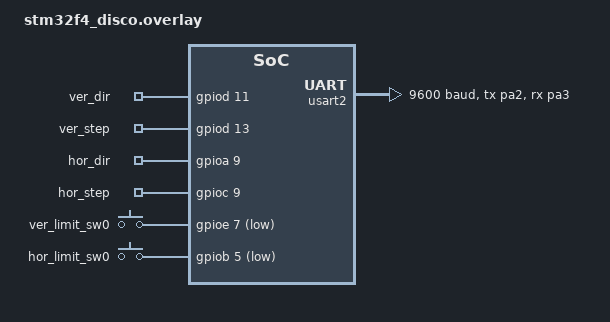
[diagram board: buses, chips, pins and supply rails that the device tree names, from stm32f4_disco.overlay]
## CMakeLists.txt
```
# SPDX-License-Identifier: Apache-2.0

cmake_minimum_required(VERSION 3.20.0)
find_package(Zephyr REQUIRED HINTS $ENV{ZEPHYR_BASE})
project(Cocktailmaschine)

target_sources(app PRIVATE src/main.c src/setup.c src/uart.c src/cocktails.c src/isr.c src/motor.c src/realtimeproblems.c)
```

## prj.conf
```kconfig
# Peripherals
CONFIG_GPIO=y
CONFIG_SERIAL=y
CONFIG_UART_INTERRUPT_DRIVEN=y
CONFIG_PWM=y
CONFIG_REBOOT=y

CONFIG_FPU=y

# Libaries
CONFIG_JSON_LIBRARY=y

# Memory
CONFIG_MAIN_STACK_SIZE=2000
CONFIG_HEAP_MEM_POOL_SIZE=2000


# SystemView
CONFIG_TRACING=y
CONFIG_SEGGER_SYSTEMVIEW=y
```

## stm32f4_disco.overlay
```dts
/ {
    gpio-pins {
        compatible = "gpio-keys";
        ver_dir: pd11 {
            gpios = <&gpiod 11 (GPIO_ACTIVE_HIGH )>;
        };
        ver_step: pd13 {
            gpios = <&gpiod 13 (GPIO_ACTIVE_HIGH )>;
        };
        /*ver_enable: pd15 {
            gpios = <&gpiod 15 (GPIO_ACTIVE_LOW )>;
        };*/
        hor_dir: pa9 {
            gpios = <&gpioa 9 (GPIO_ACTIVE_HIGH )>;
        };
        hor_step: pc9 {
            gpios = <&gpioc 9 (GPIO_ACTIVE_HIGH )>;
        };
        /*hor_enable: pc7 {
            gpios = <&gpioc 7 (GPIO_ACTIVE_LOW )>;
        };*/
    };

    
    limit-switches {
        compatible = "gpio-keys";
        ver_limit_sw0: pe7 {
            gpios = <&gpioe 7 (GPIO_ACTIVE_LOW | GPIO_PULL_DOWN)>;
        };
        /*ver_limit_sw1: pe11 {
            gpios = <&gpioe 11 (GPIO_ACTIVE_LOW | GPIO_PULL_DOWN)>;
        };*/
        hor_limit_sw0: pb5 {
            gpios = <&gpiob 5 (GPIO_ACTIVE_LOW | GPIO_PULL_DOWN)>;
        };
        /*hor_limit_sw1: pd6 {
            gpios = <&gpiod 6 (GPIO_ACTIVE_LOW | GPIO_PULL_DOWN)>;
        };*/
    };
};

usart: &usart2 {
	status = "okay";
	pinctrl-0 = <&usart2_tx_pa2 &usart2_rx_pa3 >;
	pinctrl-names = "default";
	current-speed = <9600>;
};
```

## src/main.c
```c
/*
 * Copyright (c) 2017 Linaro Limited
 *
 * SPDX-License-Identifier: Apache-2.0
 */

#include "../include/setup.h"

int ver_ready = 0;
int hor_ready = 0;

void t_horizontal_motor(void){
	int pos;
	struct q_item *item;
	uint32_t target_step_count = 0;
	while (1) {
		if (k_sem_take(&move_to_pos_sem, K_MSEC(500)) == 0) {

			ver_ready = 0;
			hor_ready = 0;

			while (k_queue_is_empty(&position_q) == 0) {
				item = k_queue_get(&position_q, K_NO_WAIT);
				pos = item->data.pos;

				switch (pos) {
				case 0:
					target_step_count = POS0;
					break;
				case 1:
					target_step_count = POS1;
					break;
				case 2:
					target_step_count = POS2;
					break;
				case 3:
					target_step_count = POS3;
					break;
				default:
					halt("invalid position");
					return;
				}

				move_to_pos(target_step_count);
				k_free(item);

				k_sem_give(&fill_glass_sem);
				k_sem_take(&move_to_pos_sem, K_FOREVER);
			}
			
			hor_set_dir(LEFT);
			while(hor_current_pos > 500){
				hor_move_step();
				hor_current_pos--;
			}
			
			unblock_server();
			set_status_led(STATUS_OK);
		}
		k_msleep(100);
	}
}

void t_vertical_motor(void){
	uint16_t amount;
	struct q_item *item;
	while (1) {
		if (k_sem_take(&fill_glass_sem, K_MSEC(500)) == 0) {
			while (k_queue_is_empty(&amount_q) == 0) {
				item = k_queue_get(&amount_q, K_NO_WAIT);
				amount = cocktail_size * item->data.amount * 0.01;

				fill_glass(amount);

				k_free(item);
				k_sem_give(&move_to_pos_sem);
				k_sem_take(&fill_glass_sem, K_FOREVER);
			}
		}
		k_msleep(100);
	}
}

void t_deadlock(void){
	while (1) {
		k_sem_take(&deadlock_sem, K_FOREVER);
		while(1){
			if(access_virtual_resource_2() == -1){
				k_mutex_unlock(&resource_mutex1);
				k_mutex_unlock(&resource_mutex2);
				release_deadlock = 0;
				break;
			}
			k_msleep(100);
		}
	}
}

void t_inversion(void){
	while (1) {
		k_sem_take(&inversion_sem, K_FOREVER);
		block_mutex_inversion();
		k_msleep(100);
	}
}

void t_init_ver_motor(void){
	while(1){
		if(k_sem_take(&init_ver, K_FOREVER) == 0) {
			ver_set_starting_position();
			while(!ver_is_starting_pos() || !hor_is_starting_pos()) {
				k_msleep(10);
			}
			ver_set_dir(DOWN);
			for (int i = 0; i < 3000; i++) {
				ver_move_step();
			}
			if (!ver_is_starting_pos()) {
				k_msleep(200);
				ver_set_starting_position();
				ver_ready = 1;
			} else {
				halt("ver limit switch not working properly");
			}
		}
		k_msleep(1000);
	}
}

void t_init_hor_motor(void){
	while(1){
		if(k_sem_take(&init_hor, K_FOREVER) == 0) {
			hor_set_starting_position();
			while(!ver_is_starting_pos() || !hor_is_starting_pos()) {
				k_msleep(10);
			}
			k_msleep(100);
			hor_set_dir(RIGHT);
			for (int i = 0; i < 500; i++) {
				hor_move_step();
			}
			if (!hor_is_starting_pos()) {
				hor_ready = 1;
			} else {
				halt("hor limit switch not working properly");
			}
		}
		
		k_msleep(1000);
	}
}

K_THREAD_DEFINE(init_ver_motor, 2048, t_init_ver_motor, NULL, NULL, NULL, 1, 0, 0);
K_THREAD_DEFINE(init_hor_motor, 2048, t_init_hor_motor, NULL, NULL, NULL, 1, 0, 0);

K_THREAD_DEFINE(hor_motor, 2048, t_horizontal_motor, NULL, NULL, NULL, 2, 0, -1);
K_THREAD_DEFINE(ver_motor, 2048, t_vertical_motor, NULL, NULL, NULL, 2, 0, -1);

K_THREAD_DEFINE(deadlock, 2048, t_deadlock, NULL, NULL, NULL, 3, 0, 0);
K_THREAD_DEFINE(priority_inversion, 2048, t_inversion, NULL, NULL, NULL, 3, 0, 0);


void main(void){
	setup();
	uart_setup();
	isr_setup();

	set_status_led(STATUS_BLOCKED);

	while (!initialized) {
		SEGGER_RTT_printf(0, "Waiting for server...\n");
		uart_write("init\n", sizeof("init\n"));
		k_msleep(2000);
	}

	reset_and_check();

	while(!ver_ready || !hor_ready){
		k_msleep(10);
	}
	
	k_thread_start(hor_motor);
	k_thread_start(ver_motor);
	unblock_server();
	set_status_led(STATUS_OK);

	while (1) {
		k_msleep(1000);
	}
}
```

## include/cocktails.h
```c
#ifndef COCKTAILS
#define COCKTAILS

#include "setup.h"

// Struct to describe an available drink on the machine
// i.e. Vodka, 1
struct drink {
    char* name;     // Name of the drink
    uint16_t position;   // Position of the bottle
};

//  Struct to describe an ingredient for a specific cocktail
//  i.e. Vodka, 20%
struct ingredient {
    struct drink drink; // Drink 
    uint16_t amount;    // Amount of drink in % to have variable drink sizes
};

// Struct to describe a cocktail 
struct cocktail {
    char* name;      // Name of the cocktail
    struct ingredient ingredients[4]; // Array of the ingredients
    uint16_t ingredient_count;  // Number of fields in the ingredient array that are not null
};

// Structs to hold arrays of drinks and cocktails
// Seems redundant but, because you could simply save the drinks and cocktails directly to an array but is needed by the JSON-Libary
struct drink_array { 
    struct drink drinks[4]; 
    size_t count; 
};

struct cocktail_array { 
    struct cocktail cocktails[50]; 
    size_t count; 
};

/**
 * Stucts that hold the drink and cocktail
*/
extern struct drink_array drinks;
extern struct cocktail_array cocktails;

extern struct cocktail* current_cocktail;
extern int cocktail_size;

int initialize_cocktails(void);
int initialize_drinks(void);

#endif // COKTAILS
```

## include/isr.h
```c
#ifndef ISR
#define ISR

#include "setup.h"


void isr_setup(void);


#endif // ISR
```

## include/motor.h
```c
#ifndef MOTOR
#define MOTOR

#include "setup.h"

/*
 * Macros
 */
#define DOWN 1
#define UP 0
#define RIGHT 1 
#define LEFT 0

#define POS0 7300
#define POS1 12500
#define POS2 17600
#define POS3 22600

#define FILL_POS 19830
#define FILL_TIME_MS 0 

#define VER_STEP_DELAY 10
#define HOR_STEP_DELAY 400

int ver_is_starting_pos(void);

int hor_is_starting_pos(void);

void ver_set_dir(int dir);

void hor_set_dir(int dir);

void ver_move_step(void);

void hor_move_step(void);

void ver_set_starting_position(void);

void hor_set_starting_position(void);

void reset_and_check(void);

void move_to_pos(int target_pos);

void fill_glass(int ml);

#endif // MOTOR
```

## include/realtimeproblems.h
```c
#ifndef RTPROBLEMS
#define RTPROBLEMS

#include "setup.h"

void access_virtual_resource_1(void);
int access_virtual_resource_2(void);

void block_mutex_inversion(void);


extern struct k_mutex resource_mutex1;
extern struct k_mutex resource_mutex2;

extern struct k_sem inversion_sem;
extern struct k_sem deadlock_sem;

extern int release_deadlock;

#endif //RTPROBLEMS
```

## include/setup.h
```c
#include <zephyr/kernel.h>
#include <zephyr/device.h>
#include <zephyr/irq.h>
#include <zephyr/drivers/gpio.h>
#include <zephyr/drivers/pwm.h>
#include <zephyr/drivers/uart.h>
#include <zephyr/devicetree.h>
#include <string.h>
#include <stdio.h>
#include <zephyr/data/json.h>
#include <zephyr/sys/reboot.h>

#include "SEGGER_RTT.h"

#include "cocktails.h"
#include "uart.h"
#include "isr.h"
#include "motor.h"
#include "realtimeproblems.h"

/*
 * Macros
 */
#define STATUS_OK 0
#define STATUS_ERROR -1
#define STATUS_BLOCKED 1

/**
 * GPIOs
 */ 
extern const struct gpio_dt_spec hor_dir_spec;
extern const struct gpio_dt_spec hor_step_spec;
extern const struct gpio_dt_spec ver_dir_spec;
extern const struct gpio_dt_spec ver_step_spec;

extern const struct gpio_dt_spec hor_limit_sw0_spec;
extern const struct gpio_dt_spec limit_sw_hor1_spec;
extern const struct gpio_dt_spec ver_limit_sw0_spec;
extern const struct gpio_dt_spec limit_sw_ver1_spec;

extern const struct gpio_dt_spec ver_enable_spec;
extern const struct gpio_dt_spec hor_enable_spec;
extern const struct gpio_dt_spec user_button_spec;
 
// LEDs
extern const struct gpio_dt_spec green;
extern const struct gpio_dt_spec red ;
extern const struct gpio_dt_spec blue;
extern const struct gpio_dt_spec orange;

/**
 * Semaphores
 */
// Coktail filling semeaphores
extern struct k_sem move_to_pos_sem;
extern struct k_sem fill_glass_sem;

// Settings semaphores
extern struct k_sem drink_sem;
extern struct k_sem cocktail_sem;
extern struct k_sem cmd_sem;

// Initialization semaphores
extern struct k_sem init_ver;
extern struct k_sem init_hor;


/**
 * Queues
 */
extern struct k_queue position_q;
extern struct k_queue amount_q;

/**
 * TIDs
*/
extern const k_tid_t hor_motor;
extern const k_tid_t ver_motor;
extern const k_tid_t led_thread;


/**
 * Global variables
 */
extern char drinks_JSON[512];
extern char cocktails_JSON[2048];

extern int ready;

extern int hor_current_pos;
extern int ver_current_pos;


/*
 * Functions
 */ 
void setup(void);
void set_status_led(int status);
void halt(char* msg);
```

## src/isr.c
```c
#include "../include/isr.h"

struct gpio_callback cb_data2;

// User-Button ISR that aborts the system
void isr_user_button(){
    halt("user aborted");
}

// ISR setup
void isr_setup(void){
    gpio_pin_interrupt_configure_dt(&user_button_spec, GPIO_INT_EDGE_TO_ACTIVE);
    gpio_init_callback(&cb_data2, (gpio_callback_handler_t)isr_user_button, BIT(user_button_spec.pin));
	gpio_add_callback(user_button_spec.port, &cb_data2);

}
```

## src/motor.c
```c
#include "../include/motor.h"

// Variables that hold the position of the motors
// Position is a counter of the steps
int hor_current_pos;
int ver_current_pos;

// Checks if vertical motor is at starting position
int ver_is_starting_pos(void){
	return gpio_pin_get_dt(&ver_limit_sw0_spec);
}

// Checks if horizontal motor is at starting position
int hor_is_starting_pos(void){
	return gpio_pin_get_dt(&hor_limit_sw0_spec);
}

// Set direction of vertical motor
void ver_set_dir(int dir){
    gpio_pin_set_dt(&ver_dir_spec, dir);
}

// Set direction of horizontal motor
void hor_set_dir(int dir){
    gpio_pin_set_dt(&hor_dir_spec, dir);
}

// Take one step with vertical motor
void ver_move_step(void){
	
	access_virtual_resource_1();

	gpio_pin_toggle_dt(&ver_step_spec);
	k_usleep(VER_STEP_DELAY);
	gpio_pin_toggle_dt(&ver_step_spec);
	k_usleep(VER_STEP_DELAY);
}

// Take one step with horizontal motor
void hor_move_step(void){
	
	access_virtual_resource_1();

	gpio_pin_toggle_dt(&hor_step_spec);
	k_usleep(HOR_STEP_DELAY);
	gpio_pin_toggle_dt(&hor_step_spec);
	k_usleep(HOR_STEP_DELAY);
}

// Moves ver motor to starting position and sets step count to 0 
void ver_set_starting_position(void){
	ver_set_dir(UP);
	while(!ver_is_starting_pos()){
		ver_move_step();
	}
	ver_current_pos = 0;
}

// Moves hor motor to starting position and sets step count to 0 
void hor_set_starting_position(void){
    hor_set_dir(LEFT);
	while(!hor_is_starting_pos()){
		hor_move_step();
	}
	hor_current_pos = 0;
}


// Moves both motors to starting positions and checks if limit switches work correctly
void reset_and_check(void){
	k_sem_give(&init_ver);
	k_sem_give(&init_hor);
}

// Moves horizontal motor to a specific position
void move_to_pos(int target_pos){
	if(hor_current_pos < target_pos){
        hor_set_dir(RIGHT);
		while(hor_current_pos < target_pos){
			hor_move_step();
			hor_current_pos++;
		}
	}
	else{
        hor_set_dir(LEFT);
		while(hor_current_pos > target_pos){
			hor_move_step();
			hor_current_pos--;
		}
	}
}

// Fills glass with the desired amount in ml by 
// repeatedly moving the vertical motor up and down 
void fill_glass(int ml){

	int remaining_ml = ml;
	int next_fill_pos;
	int next_fill_time;


	while(1){
		if(remaining_ml == 0){
			return;
		}

		ver_set_dir(DOWN);
		next_fill_pos = FILL_POS;
		next_fill_time = FILL_TIME_MS;

		// Change vertical motor position and fill time depending on remaining ml
		// Inaccurate ways to fill glass with less than 40ml 
		if(remaining_ml <= 10){
			next_fill_pos -= 1200;
			next_fill_time = 0;
		}
		else if(remaining_ml <= 20){
			next_fill_pos -= 800;
			next_fill_time = 0;
		}
		else if (remaining_ml <= 30){
			next_fill_pos -= 400;
			next_fill_time = 0;
		}


		for(int i = 0; i < next_fill_pos; i++){
			ver_move_step();
		}
		k_msleep(next_fill_time);

		if(remaining_ml >= 40){
			remaining_ml -= 40;
		}
		else {
			remaining_ml = 0;
		}

		ver_set_starting_position();
	}
}
```

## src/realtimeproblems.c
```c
#include "../include/realtimeproblems.h"

K_MUTEX_DEFINE(resource_mutex1);
K_MUTEX_DEFINE(resource_mutex2);

K_SEM_DEFINE(inversion_sem, 0, 1);
K_SEM_DEFINE(deadlock_sem, 0, 1);

int release_deadlock = 0;

// Locks two mutexes and unlocks them again
// This function is called every time one of the motors takes a step
// This function does esentially nothing. It is only used to provoce a deadlock and priority inversion
void access_virtual_resource_1(void){
    // Try to lock mutex1
    while(k_mutex_lock(&resource_mutex1, K_NO_WAIT) != 0) {
        k_usleep(1);        
    }

    k_usleep(1); // Put thread to sleep, in order to increase deadlock propability

    // Try to lock mutex2
    while(k_mutex_lock(&resource_mutex2, K_NO_WAIT) !=0){
        k_usleep(1);
    }
    
    // If the system had a shared resource it should be acessed here
    //
    //
    
    // Unlock mutexes
    k_mutex_unlock(&resource_mutex1);
    k_mutex_unlock(&resource_mutex2);
}

// Locks two mutexes in different order and unlocks them again
// This function is called repeatedly when a deadlock should be triggered.
// Unlocking the mutexes in different orders will trigger a deadlock
int access_virtual_resource_2(void){
    // Try to lock mutex2
    while(k_mutex_lock(&resource_mutex2, K_NO_WAIT) != 0) {
        k_usleep(1);
    } 
    
    k_usleep(1); // Put thread to sleep, in order to increase deadlock propability

    // Try to lock mutex1
    while(k_mutex_lock(&resource_mutex1, K_NO_WAIT) != 0){
        if(release_deadlock){
            return -1;
        }
        k_usleep(100);
    }
    
    // If the system had a shared resource it should be acessed here
    //
    //

    // Unlock mutexes
    k_mutex_unlock(&resource_mutex2);
    k_mutex_unlock(&resource_mutex1);
}

// Blocks one of the mutexes that the motor needs in order to take one step 
// Unblocks the mutex after 5 seconds
void block_mutex_inversion(void){
    k_mutex_lock(&resource_mutex1, K_FOREVER);
    k_msleep(5000);
    k_mutex_unlock(&resource_mutex1);
}
```

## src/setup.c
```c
#include "../include/setup.h"
#include "SEGGER_RTT_printf.c"

// Semaphores
K_SEM_DEFINE(move_to_pos_sem, 0, 1);
K_SEM_DEFINE(fill_glass_sem, 0, 1);
K_SEM_DEFINE(drink_sem, 0, 1);
K_SEM_DEFINE(cocktail_sem, 0, 1);
K_SEM_DEFINE(init_ver, 0, 1);
K_SEM_DEFINE(init_hor, 0, 1);

// Queue
K_QUEUE_DEFINE(position_q);
K_QUEUE_DEFINE(amount_q);

// GPIOS
const struct gpio_dt_spec ver_step_spec = GPIO_DT_SPEC_GET(DT_NODELABEL(ver_step), gpios);
const struct gpio_dt_spec ver_dir_spec = GPIO_DT_SPEC_GET(DT_NODELABEL(ver_dir), gpios);
//const struct gpio_dt_spec ver_enable_spec = GPIO_DT_SPEC_GET(DT_NODELABEL(ver_enable), gpios);

const struct gpio_dt_spec hor_step_spec = GPIO_DT_SPEC_GET(DT_NODELABEL(hor_step), gpios);
const struct gpio_dt_spec hor_dir_spec = GPIO_DT_SPEC_GET(DT_NODELABEL(hor_dir), gpios);
//const struct gpio_dt_spec hor_enable_spec = GPIO_DT_SPEC_GET(DT_NODELABEL(hor_enable), gpios);

const struct gpio_dt_spec ver_limit_sw0_spec = GPIO_DT_SPEC_GET(DT_NODELABEL(ver_limit_sw0), gpios);
const struct gpio_dt_spec hor_limit_sw0_spec = GPIO_DT_SPEC_GET(DT_NODELABEL(hor_limit_sw0), gpios);
const struct gpio_dt_spec user_button_spec = GPIO_DT_SPEC_GET(DT_NODELABEL(user_button), gpios);


// Status LEDs
const struct gpio_dt_spec green = GPIO_DT_SPEC_GET(DT_NODELABEL(green_led_4), gpios);
const struct gpio_dt_spec red = GPIO_DT_SPEC_GET(DT_NODELABEL(red_led_5), gpios);

const struct gpio_dt_spec blue = GPIO_DT_SPEC_GET(DT_NODELABEL(blue_led_6), gpios);
const struct gpio_dt_spec orange = GPIO_DT_SPEC_GET(DT_NODELABEL(orange_led_3), gpios);

// Pin configuration setup
void setup(void){

    gpio_pin_configure_dt(&hor_dir_spec, GPIO_OUTPUT_INACTIVE);
    gpio_pin_configure_dt(&hor_step_spec, GPIO_OUTPUT_INACTIVE);

    gpio_pin_configure_dt(&ver_dir_spec, GPIO_OUTPUT_INACTIVE);
    gpio_pin_configure_dt(&ver_step_spec, GPIO_OUTPUT_INACTIVE);

    gpio_pin_configure_dt(&hor_limit_sw0_spec, GPIO_INPUT);
    gpio_pin_configure_dt(&ver_limit_sw0_spec, GPIO_INPUT);
    gpio_pin_configure_dt(&user_button_spec, GPIO_INPUT);


    gpio_pin_configure_dt(&green, GPIO_OUTPUT_INACTIVE);    
    gpio_pin_configure_dt(&red, GPIO_OUTPUT_INACTIVE);
    
    gpio_pin_configure_dt(&blue, GPIO_OUTPUT_INACTIVE);
    gpio_pin_configure_dt(&orange, GPIO_OUTPUT_INACTIVE);


}

// Funtion to set led that indicates the status of the system
void set_status_led(int status){    

    gpio_pin_set_dt(&green, 0);
    gpio_pin_set_dt(&red, 0);
    gpio_pin_set_dt(&blue, 0);

    switch (status){
        case STATUS_OK:
            gpio_pin_set_dt(&green, 1);
            break;

        case STATUS_ERROR:
            gpio_pin_set_dt(&red, 1);
            break;

        case STATUS_BLOCKED:
            gpio_pin_set_dt(&blue, 1);
            break;

        default:
            break;
    }
}

// Funtion to abort the system
void halt(char* msg){
    set_status_led(STATUS_ERROR);
    SEGGER_RTT_printf(0, "Error: %s\n", msg);
    k_panic();
}
```

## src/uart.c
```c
/*
 * Copyright (c) 2016 Intel Corporation
 *
 * SPDX-License-Identifier: Apache-2.0
 */

#include "../include/uart.h"

const struct device* uart_dev = DEVICE_DT_GET(DT_NODELABEL(usart));

uint8_t initialized = 0;
uint32_t idx = 0;
uint8_t rx_buf[2048];
struct k_timer my_timer;
char cmd_idetifier[32];

char drinks_JSON[512];
char cocktails_JSON[2048];

int update_drinks = 0;


// Write string to UART 
// unused
void uart_write(char* buf, int buf_size){
    for(int i = 0; i < buf_size; i++){
        uart_poll_out(uart_dev, buf[i]);
    }
}

// Callback function to handle received data
void rx_callback(const struct device *dev, void *user_data){
    int i = *((int*)user_data);
    if(uart_irq_rx_ready(dev)){
        /*  
         Restart timer every time a new character arrives.
         if no new character arrives within 20ms the timer 
         callback executes and resets the rx_buffer.
         This is used beacuse Zephyr UART-API only reads 
         one character at a time.
        */
        k_timer_stop(&my_timer);
        k_timer_start(&my_timer, K_MSEC(20), K_NO_WAIT);

        uart_fifo_read(dev, &rx_buf[i], 32);
        *((int*)user_data) = i+1;
    }
}      

// Timer callback executes when uart reception completed
// The constructed string will be compared and the command from the GUI will trigger a reaction by the system
void uart_timer_cb(struct k_timer *timer_id){

    // Check if valid command identifier was received
    // Command identifier is used when a command consists of two string which are sent to the system seperatly

    // For example: when updating the drink setting, the first string sent from the server is the command identifier "drinks". Shortly
    // after the JSON-String with the information of the drink configurations will be sent. 
    if(strcmp(rx_buf, "drinks") == 0 || strcmp(rx_buf, "cocktails") == 0 || strcmp(rx_buf, "mix") == 0){
        strncpy(cmd_idetifier, rx_buf, sizeof(cmd_idetifier));
        memset(&rx_buf[0], 0, sizeof(rx_buf));
        idx = 0;
        return;
    }

    if(strcmp(cmd_idetifier, "drinks") == 0){
        strncpy(drinks_JSON, rx_buf, sizeof(drinks_JSON));
        update_drinks = 1;
    }

    else if(strcmp(cmd_idetifier, "cocktails") == 0){
        strncpy(cocktails_JSON, rx_buf, sizeof(cocktails_JSON));
        if(update_drinks){
            if(initialize_drinks() != 0){
                halt("drink initialization");
            }  
            update_drinks = 0;
        }
        if(initialize_cocktails() != 0){            
            halt("cocktail initialization");
        }
        if(!initialized){
            initialized = 1;
        }
        SEGGER_RTT_printf(0, "Settings updated\n");
    }
        
    // Command to mix a cocktail
    else if(strcmp(cmd_idetifier, "mix") == 0){
        set_status_led(STATUS_BLOCKED);

        char* ptr;
        int idx = atoi(strtok_r((char*)rx_buf, ",:", &ptr));
        cocktail_size = atoi(strtok_r(NULL, ",:", &ptr));

        current_cocktail = &(cocktails.cocktails[idx]);

        while(!k_queue_is_empty(&position_q)){
            k_free(k_queue_get(&position_q, K_NO_WAIT));
        }
        if(!k_queue_is_empty(&amount_q)){
            k_free(k_queue_get(&amount_q, K_NO_WAIT));
        }

        for (int i = 0; i < 4; i++){
            if(current_cocktail->ingredients[i].amount > 0){
                struct q_item* pos_item = k_malloc(sizeof(void*) + sizeof(uint16_t));
                pos_item->data.pos = current_cocktail->ingredients[i].drink.position;

                struct q_item* amount_item = k_malloc(sizeof(void*) + sizeof(uint16_t));
                amount_item->data.amount = current_cocktail->ingredients[i].amount;

                k_queue_append(&position_q, pos_item);
                k_queue_append(&amount_q, amount_item);
            }
        }
        k_sem_give(&move_to_pos_sem);
    }

    // Command to trigger deadlock
    else if(strcmp(rx_buf, "deadlock") == 0){
        k_sem_give(&deadlock_sem);
    }

    // Command to release deadlock
    else if(strcmp(rx_buf, "release") == 0){
        release_deadlock = 1; 
    }

    // Command to trigger priority inversion
    else if(strcmp(rx_buf, "inversion") == 0){
        k_sem_give(&inversion_sem);
    }
    
    // Reset command identifier and buffer
    strncpy(cmd_idetifier, "", sizeof(cmd_idetifier));
    memset(&rx_buf[0], 0, sizeof(rx_buf));
    idx = 0; 
}

// Funtion to setuup UART
void uart_setup(void){
    k_timer_init(&my_timer, uart_timer_cb, NULL);
    uart_irq_rx_enable(uart_dev); 
    uart_irq_callback_user_data_set(uart_dev, rx_callback, (void*)&idx);
}

// The server will be blocked if the system is busy. When the server is blocked no commands will be sent to the machine.
// This function unblocks the server
void unblock_server(void){
	uart_write("unblock\n", sizeof("unblock\n"));
}
```
